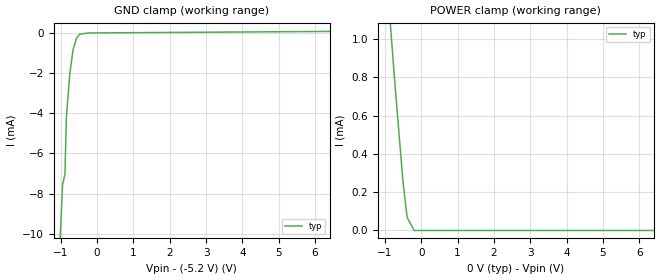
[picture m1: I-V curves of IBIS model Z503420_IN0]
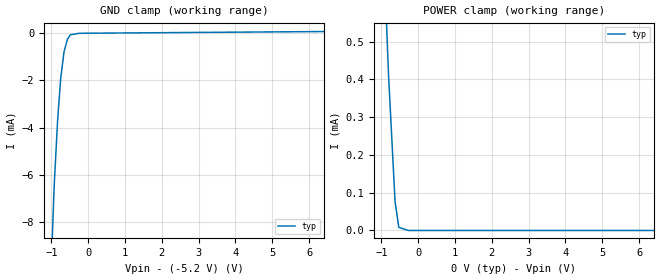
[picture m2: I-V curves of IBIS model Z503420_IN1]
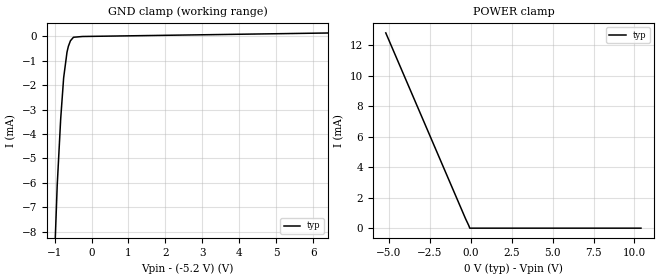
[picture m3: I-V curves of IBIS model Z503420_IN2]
| YOU ARE ONLY AUTHORIZED TO USE THIS SOFTWARE
| ACCORDING TO LICENSOR'S LICENSE RESTRICTIONS.
[IBIS Ver] 3.1
[File Name] mc10e212fn.ibs
[File Rev] 2.0
[Source] Measured and created by ICX Technology
[Date] Friday 7/14/00 9:07:49 AM
[Copyright]
| (C) COPYRIGHT 1993-2000
| MENTOR GRAPHICS CORPORATION
| ICX STANDARD LIBRARY, ICX PROJECT MODELING,
| ICX CUSTOM MODELING, ICX VENDOR MODEL
| ALL RIGHTS RESERVED.
| THE FOLLOWING ARE TRADEMARKS OR SERVICE MARKS OF
| MENTOR GRAPHICS CORPORATION:ICX (R), ICX STANDARD
| LIBRARY(R), ICX PROJECT MODELING(R), ICX CUSTOM
| MODELING(R), qualityIBIS(TM), MODELVIEWER(TM),
| AND MODELEDITOR(TM)
| ALL COPIES OF SOFTWARE, INCLUDING BUT NOT LIMITED TO
| ANY MODIFICATIONS, ENHANCEMENTS OR DERIVATIVE WORKS,
| MUST CONTAIN ALL MENTOR GRAPHICS CORPORATION'S
| NOTICES AND LEGENDS, INCLUDING THOSE EMBEDDED IN
| SOFTWARE AND THOSE AFFIXED TO SOFTWARE MEDIUM
| AND CONTAINER, AS RECEIVED FROM MENTOR GRAPHICS
| CORPORATION.
|  ZAP Model Builder 2.7
[Component] MC10E212FN
[Manufacturer] OnSemiconductor
[Package]
| variable   typ   min   max
R_pkg  .083ohms NA NA
L_pkg  4.299nH NA NA
C_pkg  1.045pF NA NA
[Pin] signal_name  model_name  R_pin  L_pin C_pin
1 VEE POWER .08 3.94n .925p
2 D1 Z503420_IN0 .082 4.14n .995p
3 D0 Z503420_IN0 .084 4.354n 1.065p
4 S-IN Z503420_IN1 .086 4.583n 1.135p
5 NC NC .086 4.583n 1.135p
6 VCCO POWER .084 4.354n 1.065p
7 Q0A Z503420_OUT0 .082 4.14n .995p
8 Q0B Z503420_OUT0 .08 3.94n .925p
9 _Q0A Z503420_OUT1 .082 4.14n .995p
10 _Q0B Z503420_OUT1 .084 4.354n 1.065p
11 VCCO POWER .086 4.583n 1.135p
12 Q1A Z503420_OUT0 .086 4.583n 1.135p
13 Q1B Z503420_OUT0 .084 4.354n 1.065p
14 _Q1A Z503420_OUT1 .082 4.14n .995p
15 _Q1B Z503420_OUT1 .08 3.94n .925p
16 VCC POWER .082 4.14n .995p
17 Q2A Z503420_OUT0 .084 4.354n 1.065p
18 Q2B Z503420_OUT0 .086 4.583n 1.135p
19 _Q2A Z503420_OUT1 .086 4.583n 1.135p
20 _Q2B Z503420_OUT1 .084 4.354n 1.065p
21 VCCO POWER .082 4.14n .995p
22 S-OUT Z503420_OUT2 .08 3.94n .925p
23 NC NC .082 4.14n .995p
24 MR Z503420_IN2 .084 4.354n 1.065p
25 SHIFT Z503420_IN3 .086 4.583n 1.135p
26 _LOAD Z503420_IN4 .086 4.583n 1.135p
27 CLK Z503420_IN5 .084 4.354n 1.065p
28 D2 Z503420_IN0 .082 4.14n .995p
| Models and submodels in the file (9): Z503420_IN0 (Input_ECL), Z503420_IN1 (Input_ECL), Z503420_IN2 (Input_ECL), Z503420_IN3 (Input_ECL), Z503420_IN4 (Input_ECL), Z503420_IN5 (Input_ECL), Z503420_OUT0 (Output_ECL), Z503420_OUT1 (Output_ECL), Z503420_OUT2 (Output_ECL)
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| (C) COPYRIGHT 1993-2000
| MENTOR GRAPHICS CORPORATION
| ICX STANDARD LIBRARY, ICX PROJECT MODELING,
| ICX CUSTOM MODELING, ICX VENDOR MODEL
| ALL RIGHTS RESERVED.
| THE FOLLOWING ARE TRADEMARKS OR SERVICE MARKS OF
| MENTOR GRAPHICS CORPORATION:ICX (R), ICX STANDARD
| LIBRARY(R), ICX PROJECT MODELING(R), ICX CUSTOM
| MODELING(R), qualityIBIS(TM), MODELVIEWER(TM),
| AND MODELEDITOR(TM)
| ALL COPIES OF SOFTWARE, INCLUDING BUT NOT LIMITED TO
| ANY MODIFICATIONS, ENHANCEMENTS OR DERIVATIVE WORKS,
| MUST CONTAIN ALL MENTOR GRAPHICS CORPORATION'S
| NOTICES AND LEGENDS, INCLUDING THOSE EMBEDDED IN
| SOFTWARE AND THOSE AFFIXED TO SOFTWARE MEDIUM
| AND CONTAINER, AS RECEIVED FROM MENTOR GRAPHICS
| CORPORATION.
| Model Application Version 1.89 2/18/99.
[Model] Z503420_IN0
Model_type Input_ECL
Vinl = -1.480V
Vinh = -1.130V
C_comp 4.000pF NA NA
| variable typ   min   max
[Voltage Range] -5.200V NA NA
[GND Clamp Reference] -5.200V NA NA
[POWER Clamp Reference] 0.000V NA NA
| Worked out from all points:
|   GND clamp passes 1 mA (typ) near -0.67 V on its own axis
[GND Clamp]
-5.2V     -266.6mA   NA         NA
-1.167V   -17.55mA   NA         NA
-1.02V    -10.31mA   NA         NA
-951mV    -7.563mA   NA         NA
-886mV    -7.044mA   NA         NA
-845mV    -4.163mA   NA         NA
-748mV    -1.99mA    NA         NA
-659mV    -817.2uA   NA         NA
-566mV    -274.5uA   NA         NA
-484mV    -86.21uA   NA         NA
-242mV    -20.14uA   NA         NA
10.4V     102.1uA    NA         NA
[POWER Clamp]
-5.2V     18.91mA    NA         NA
-1.767V   3.953mA    NA         NA
-1.44V    2.636mA    NA         NA
-1.303V   2.223mA    NA         NA
-742.2mV  803.9uA    NA         NA
-505.3mV  257.5uA    NA         NA
-390.6mV  67.83uA    NA         NA
-195.3mV  0A         NA         NA
10.4V     0A         NA         NA
| (C) COPYRIGHT 1993-2000
| MENTOR GRAPHICS CORPORATION
| ICX STANDARD LIBRARY, ICX PROJECT MODELING,
| ICX CUSTOM MODELING, ICX VENDOR MODEL
| ALL RIGHTS RESERVED.
| THE FOLLOWING ARE TRADEMARKS OR SERVICE MARKS OF
| MENTOR GRAPHICS CORPORATION:ICX (R), ICX STANDARD
| LIBRARY(R), ICX PROJECT MODELING(R), ICX CUSTOM
| MODELING(R), qualityIBIS(TM), MODELVIEWER(TM),
| AND MODELEDITOR(TM)
| ALL COPIES OF SOFTWARE, INCLUDING BUT NOT LIMITED TO
| ANY MODIFICATIONS, ENHANCEMENTS OR DERIVATIVE WORKS,
| MUST CONTAIN ALL MENTOR GRAPHICS CORPORATION'S
| NOTICES AND LEGENDS, INCLUDING THOSE EMBEDDED IN
| SOFTWARE AND THOSE AFFIXED TO SOFTWARE MEDIUM
| AND CONTAINER, AS RECEIVED FROM MENTOR GRAPHICS
| CORPORATION.
| Model Application Version 1.89 2/18/99.
[Model] Z503420_IN1
Model_type Input_ECL
Vinl = -1.480V
Vinh = -1.130V
C_comp 4.000pF NA NA
| variable typ   min   max
[Voltage Range] -5.200V NA NA
[GND Clamp Reference] -5.200V NA NA
[POWER Clamp Reference] 0.000V NA NA
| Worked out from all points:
|   GND clamp passes 1 mA (typ) near -0.67 V on its own axis
[GND Clamp]
-5.2V     -264.7mA   NA         NA
-1.076V   -12.91mA   NA         NA
-923mV    -6.417mA   NA         NA
-830mV    -3.672mA   NA         NA
-748mV    -1.946mA   NA         NA
-659mV    -819.7uA   NA         NA
-566mV    -278.2uA   NA         NA
-484mV    -82.81uA   NA         NA
-242mV    -19.92uA   NA         NA
10.4V     97.28uA    NA         NA
[POWER Clamp]
-5.2V     27.53mA    NA         NA
-2.266V   5.719mA    NA         NA
-1.987V   3.848mA    NA         NA
-1.871V   3.221mA    NA         NA
-1.777V   2.859mA    NA         NA
-1.523V   2.186mA    NA         NA
-803.5mV  407.1uA    NA         NA
-628.1mV  76.17uA    NA         NA
-527.3mV  8.21uA     NA         NA
-263.7mV  0A         NA         NA
10.4V     0A         NA         NA
| (C) COPYRIGHT 1993-2000
| MENTOR GRAPHICS CORPORATION
| ICX STANDARD LIBRARY, ICX PROJECT MODELING,
| ICX CUSTOM MODELING, ICX VENDOR MODEL
| ALL RIGHTS RESERVED.
| THE FOLLOWING ARE TRADEMARKS OR SERVICE MARKS OF
| MENTOR GRAPHICS CORPORATION:ICX (R), ICX STANDARD
| LIBRARY(R), ICX PROJECT MODELING(R), ICX CUSTOM
| MODELING(R), qualityIBIS(TM), MODELVIEWER(TM),
| AND MODELEDITOR(TM)
| ALL COPIES OF SOFTWARE, INCLUDING BUT NOT LIMITED TO
| ANY MODIFICATIONS, ENHANCEMENTS OR DERIVATIVE WORKS,
| MUST CONTAIN ALL MENTOR GRAPHICS CORPORATION'S
| NOTICES AND LEGENDS, INCLUDING THOSE EMBEDDED IN
| SOFTWARE AND THOSE AFFIXED TO SOFTWARE MEDIUM
| AND CONTAINER, AS RECEIVED FROM MENTOR GRAPHICS
| CORPORATION.
| Model Application Version 1.89 2/18/99.
[Model] Z503420_IN2
Model_type Input_ECL
Vinl = -1.480V
Vinh = -1.130V
C_comp 4.000pF NA NA
| variable typ   min   max
[Voltage Range] -5.200V NA NA
[GND Clamp Reference] -5.200V NA NA
[POWER Clamp Reference] 0.000V NA NA
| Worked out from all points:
|   GND clamp passes 1 mA (typ) near -0.69 V on its own axis
[GND Clamp]
-5.2V     -259.2mA   NA         NA
-1.084V   -12.53mA   NA         NA
-929mV    -6.103mA   NA         NA
-835mV    -3.385mA   NA         NA
-755mV    -1.706mA   NA         NA
-664mV    -653.5uA   NA         NA
-628mV    -419.5uA   NA         NA
-571mV    -187.7uA   NA         NA
-489mV    -43.86uA   NA         NA
-244.5mV  -12.46uA   NA         NA
10.4V     216.6uA    NA         NA
[POWER Clamp]
-5.2V     12.82mA    NA         NA
-323.7mV  619.3uA    NA         NA
-129.5mV  178.8uA    NA         NA
-64.75mV  0A         NA         NA
10.4V     0A         NA         NA
